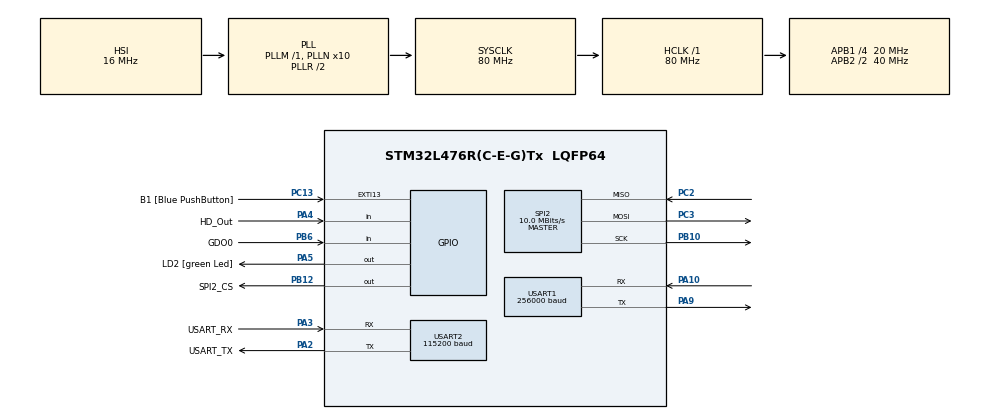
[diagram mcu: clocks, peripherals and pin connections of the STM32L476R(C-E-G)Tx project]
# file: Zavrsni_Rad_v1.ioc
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Mcu.Family=STM32L4
Mcu.Name=STM32L476R(C-E-G)Tx
Mcu.Package=LQFP64
NVIC.PriorityGroup=NVIC_PRIORITYGROUP_4
PA10.Mode=Asynchronous
PA10.Signal=USART1_RX
PA13\ (JTMS-SWDIO).GPIO_Label=TMS
PA13\ (JTMS-SWDIO).Mode=Serial_Wire
PA13\ (JTMS-SWDIO).Signal=SYS_JTMS-SWDIO
PA14\ (JTCK-SWCLK).GPIO_Label=TCK
PA14\ (JTCK-SWCLK).Mode=Serial_Wire
PA14\ (JTCK-SWCLK).Signal=SYS_JTCK-SWCLK
PA2.GPIO_Label=USART_TX
PA2.GPIO_Mode=GPIO_MODE_AF_PP
PA2.GPIO_PuPd=GPIO_NOPULL
PA2.GPIO_Speed=GPIO_SPEED_FREQ_VERY_HIGH
PA2.Mode=Asynchronous
PA2.Signal=USART2_TX
PA3.GPIO_Label=USART_RX
PA3.GPIO_Mode=GPIO_MODE_AF_PP
PA3.GPIO_PuPd=GPIO_NOPULL
PA3.GPIO_Speed=GPIO_SPEED_FREQ_VERY_HIGH
PA3.Mode=Asynchronous
PA3.Signal=USART2_RX
PA4.GPIO_Label=HD_Out
PA4.Signal=GPIO_Input
PA5.GPIO_Label=LD2 [green Led]
PA5.GPIO_ModeDefaultOutputPP=GPIO_MODE_OUTPUT_PP
PA5.GPIO_PuPd=GPIO_NOPULL
PA5.GPIO_Speed=GPIO_SPEED_FREQ_LOW
PA5.Signal=GPIO_Output
PA9.Mode=Asynchronous
PA9.Signal=USART1_TX
PB10.Mode=Full_Duplex_Master
PB10.Signal=SPI2_SCK
PB12.GPIO_Label=SPI2_CS
PB12.PinState=GPIO_PIN_SET
PB12.Signal=GPIO_Output
PB3\ (JTDO-TRACESWO).GPIO_Label=SWO
PB3\ (JTDO-TRACESWO).Signal=SYS_JTDO-SWO
PB6.GPIO_Label=GDO0
PB6.Signal=GPIO_Input
PC13.GPIO_Label=B1 [Blue PushButton]
PC13.GPIO_ModeDefaultEXTI=GPIO_MODE_IT_FALLING
PC13.GPIO_PuPd=GPIO_NOPULL
PC13.Signal=GPXTI13
PC14-OSC32_IN\ (PC14).Mode=LSE-External-Oscillator
PC14-OSC32_IN\ (PC14).Signal=RCC_OSC32_IN
PC15-OSC32_OUT\ (PC15).Mode=LSE-External-Oscillator
PC15-OSC32_OUT\ (PC15).Signal=RCC_OSC32_OUT
PC2.Mode=Full_Duplex_Master
PC2.Signal=SPI2_MISO
PC3.Mode=Full_Duplex_Master
PC3.Signal=SPI2_MOSI
PH0-OSC_IN\ (PH0).Signal=RCC_OSC_IN
PH1-OSC_OUT\ (PH1).Signal=RCC_OSC_OUT
ProjectManager.HeapSize=0x200
ProjectManager.StackSize=0x400
ProjectManager.TargetToolchain=STM32CubeIDE
RCC.ADCFreq_Value=64000000
RCC.AHBFreq_Value=80000000
RCC.APB1CLKDivider=RCC_HCLK_DIV4
RCC.APB1Freq_Value=20000000
RCC.APB1TimFreq_Value=40000000
RCC.APB2CLKDivider=RCC_HCLK_DIV2
RCC.APB2Freq_Value=40000000
RCC.APB2TimFreq_Value=80000000
RCC.CortexFreq_Value=80000000
RCC.HCLKFreq_Value=80000000
RCC.HSE_VALUE=8000000
RCC.HSI_VALUE=16000000
RCC.MSI_VALUE=4000000
RCC.PLLN=10
RCC.PLLSourceVirtual=RCC_PLLSOURCE_HSI
RCC.PREFETCH_ENABLE=1
RCC.SYSCLKFreq_VALUE=80000000
RCC.SYSCLKSource=RCC_SYSCLKSOURCE_PLLCLK
RCC.USBFreq_Value=64000000
RCC.VCOOutputFreq_Value=160000000
SPI2.BaudRatePrescaler=SPI_BAUDRATEPRESCALER_2
SPI2.CalculateBaudRate=10.0 MBits/s
SPI2.DataSize=SPI_DATASIZE_8BIT
SPI2.Direction=SPI_DIRECTION_2LINES
SPI2.Mode=SPI_MODE_MASTER
SPI2.NSSPMode=SPI_NSS_PULSE_DISABLE
SPI2.VirtualType=VM_MASTER
TIM1.Period=65535
TIM1.Prescaler=80-1
TIM2.Prescaler=1-1
USART1.BaudRate=256000
USART1.VirtualMode-Asynchronous=VM_ASYNC
USART2.BaudRate=115200
USART2.VirtualMode-Asynchronous=VM_ASYNC
VP_TIM1_VS_ClockSourceINT.Mode=Internal
VP_TIM2_VS_ClockSourceINT.Mode=Internal
board=NUCLEO-L476RG

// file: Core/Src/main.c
/* USER CODE BEGIN Header */
/**
  ******************************************************************************
  * @file           : main.c
  * @brief          : Main program body
  ******************************************************************************
  * @attention
  *
  * Copyright (c) 2024 STMicroelectronics.
  * All rights reserved.
  *
  * This software is licensed under terms that can be found in the LICENSE file
  * in the root directory of this software component.
  * If no LICENSE file comes with this software, it is provided AS-IS.
  *
  ******************************************************************************
  */
/* USER CODE END Header */
#include "main.h"
#include "spi.h"
#include "tim.h"
#include "usart.h"
#include "gpio.h"

/* USER CODE BEGIN Includes */
#include "CC1101_E07_M1101D_SMA.h"
#include <string.h>
/* USER CODE END Includes */

void SystemClock_Config(void);

int main(void)
{

  /* MCU Configuration--------------------------------------------------------*/

  /* Reset of all peripherals, Initializes the Flash interface and the Systick. */
  HAL_Init();

  /* Configure the system clock */
  SystemClock_Config();

  /* Initialize all configured peripherals */
  MX_GPIO_Init();
  MX_USART2_UART_Init();
  MX_SPI2_Init();
  MX_USART1_UART_Init();
  MX_TIM1_Init();
  MX_TIM2_Init();
  /* USER CODE BEGIN 2 */
  HAL_TIM_Base_Start(&htim1);
  HAL_TIM_Base_Start(&htim2);

  char serialStatus[200];
  char aTxBuffer[] = "ovdje1\r\n";
  HAL_UART_Transmit(&huart2, (uint8_t*)aTxBuffer, strlen(aTxBuffer), HAL_MAX_DELAY);
  manual_POR();
  cc1101_init(1);

  uint8_t status,status1;
  uint8_t TXBytesStatus;
  status = command_strobe(SNOP);
  snprintf(serialStatus, sizeof(serialStatus), "main: 0x%02X\r\n", status);
  HAL_UART_Transmit(&huart2, (uint8_t*)serialStatus, strlen(serialStatus), HAL_MAX_DELAY);
  /* USER CODE END 2 */

  /* Infinite loop */
  /* USER CODE BEGIN WHILE */
  while (1)
  {
//	  char aTxBuffer[] = "ovdje2\r\n";
//	  HAL_UART_Transmit(&huart2, (uint8_t*)aTxBuffer, strlen(aTxBuffer), HAL_MAX_DELAY);
//	  HAL_Delay(5000);
//
//	  TXBytesStatus = read_single_byte(IOCFG0, &status1);
//	  snprintf(serialStatus, sizeof(serialStatus), "IOCFG0: 0x%02X\r\n", TXBytesStatus);
//	  HAL_UART_Transmit(&huart2, (uint8_t*)serialStatus, strlen(serialStatus), HAL_MAX_DELAY);
//
//	  snprintf(serialStatus, sizeof(serialStatus), "ChipStatus, txbytes B: 0x%02X\r\n", status1);
//	  HAL_UART_Transmit(&huart2, (uint8_t*)serialStatus, strlen(serialStatus), HAL_MAX_DELAY);
//
//	  TXBytesStatus = read_single_byte(FREQ2, &status1);
//	  snprintf(serialStatus, sizeof(serialStatus), "FREQ2: 0x%02X\r\n", TXBytesStatus);
//	  HAL_UART_Transmit(&huart2, (uint8_t*)serialStatus, strlen(serialStatus), HAL_MAX_DELAY);
//
//	  snprintf(serialStatus, sizeof(serialStatus), "Chip status: 0x%02X\r\n", status1);
//	  HAL_UART_Transmit(&huart2, (uint8_t*)serialStatus, strlen(serialStatus), HAL_MAX_DELAY);
//
//	  HAL_Delay(2000);
//
//	  TXBytesStatus = read_single_byte(FREQ1, &status1);
//	  snprintf(serialStatus, sizeof(serialStatus), "FREQ1: 0x%02X\r\n", TXBytesStatus);
//	  HAL_UART_Transmit(&huart2, (uint8_t*)serialStatus, strlen(serialStatus), HAL_MAX_DELAY);
//
//	  snprintf(serialStatus, sizeof(serialStatus), "Chip status: 0x%02X\r\n", status1);
//	  HAL_UART_Transmit(&huart2, (uint8_t*)serialStatus, strlen(serialStatus), HAL_MAX_DELAY);

	  HAL_Delay(2000);

	  //transmit_burst_byte_433();
	  if(HAL_GPIO_ReadPin(HD_Out_GPIO_Port, HD_Out_Pin))
	  {

		  //TXBytesStatus = read_status_reg(TXBYTES, &status1);
		  snprintf(serialStatus, sizeof(serialStatus), "Human detected.");
		  HAL_UART_Transmit(&huart2, (uint8_t*)serialStatus, strlen(serialStatus), HAL_MAX_DELAY);

	  }
//
//	  snprintf(serialStatus, sizeof(serialStatus), "ChipStatus, txbytes A: 0x%02X\r\n", status1);
//	  HAL_UART_Transmit(&huart2, (uint8_t*)serialStatus, strlen(serialStatus), HAL_MAX_DELAY);

    /* USER CODE END WHILE */

  }
}

void SystemClock_Config(void)
{
  RCC_OscInitTypeDef RCC_OscInitStruct = {0};
  RCC_ClkInitTypeDef RCC_ClkInitStruct = {0};

  /** Configure the main internal regulator output voltage
  */
  if (HAL_PWREx_ControlVoltageScaling(PWR_REGULATOR_VOLTAGE_SCALE1) != HAL_OK)
  {
    Error_Handler();
  }

  /** Initializes the RCC Oscillators according to the specified parameters
  * in the RCC_OscInitTypeDef structure.
  */
  RCC_OscInitStruct.OscillatorType = RCC_OSCILLATORTYPE_HSI;
  RCC_OscInitStruct.HSIState = RCC_HSI_ON;
  RCC_OscInitStruct.HSICalibrationValue = RCC_HSICALIBRATION_DEFAULT;
  RCC_OscInitStruct.PLL.PLLState = RCC_PLL_ON;
  RCC_OscInitStruct.PLL.PLLSource = RCC_PLLSOURCE_HSI;
  RCC_OscInitStruct.PLL.PLLM = 1;
  RCC_OscInitStruct.PLL.PLLN = 10;
  RCC_OscInitStruct.PLL.PLLP = RCC_PLLP_DIV7;
  RCC_OscInitStruct.PLL.PLLQ = RCC_PLLQ_DIV2;
  RCC_OscInitStruct.PLL.PLLR = RCC_PLLR_DIV2;
  if (HAL_RCC_OscConfig(&RCC_OscInitStruct) != HAL_OK)
  {
    Error_Handler();
  }

  /** Initializes the CPU, AHB and APB buses clocks
  */
  RCC_ClkInitStruct.ClockType = RCC_CLOCKTYPE_HCLK|RCC_CLOCKTYPE_SYSCLK
                              |RCC_CLOCKTYPE_PCLK1|RCC_CLOCKTYPE_PCLK2;
  RCC_ClkInitStruct.SYSCLKSource = RCC_SYSCLKSOURCE_PLLCLK;
  RCC_ClkInitStruct.AHBCLKDivider = RCC_SYSCLK_DIV1;
  RCC_ClkInitStruct.APB1CLKDivider = RCC_HCLK_DIV4;
  RCC_ClkInitStruct.APB2CLKDivider = RCC_HCLK_DIV2;

  if (HAL_RCC_ClockConfig(&RCC_ClkInitStruct, FLASH_LATENCY_4) != HAL_OK)
  {
    Error_Handler();
  }
}

void Error_Handler(void)
{
  __disable_irq();
  while (1)
  {
  }
}
